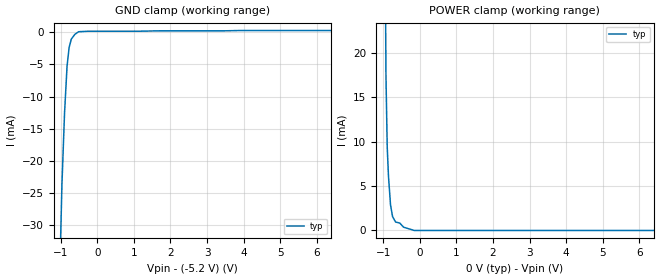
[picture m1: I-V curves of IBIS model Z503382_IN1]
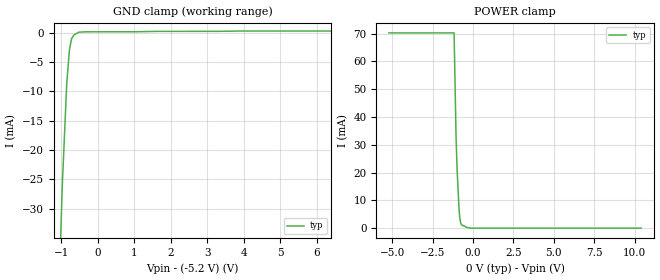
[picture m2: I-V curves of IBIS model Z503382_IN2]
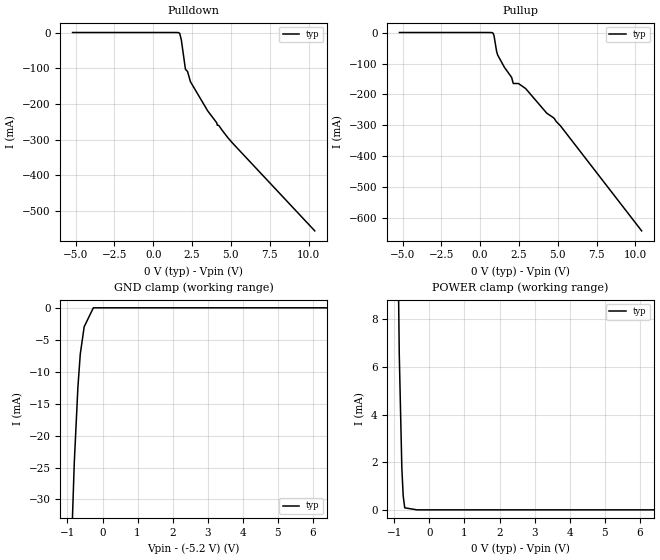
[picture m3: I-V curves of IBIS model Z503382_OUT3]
| YOU ARE ONLY AUTHORIZED TO USE THIS SOFTWARE
| ACCORDING TO LICENSOR'S LICENSE RESTRICTIONS.
[IBIS Ver] 3.1
[File Name] mc100el11d.ibs
[File Rev] 2.0
[Source] Measured and created by ICX Technology
[Date] Friday 7/14/00 9:07:48 AM
[Copyright]
| (C) COPYRIGHT 1993-2000
| MENTOR GRAPHICS CORPORATION
| ICX STANDARD LIBRARY, ICX PROJECT MODELING,
| ICX CUSTOM MODELING, ICX VENDOR MODEL
| ALL RIGHTS RESERVED.
| THE FOLLOWING ARE TRADEMARKS OR SERVICE MARKS OF
| MENTOR GRAPHICS CORPORATION:ICX (R), ICX STANDARD
| LIBRARY(R), ICX PROJECT MODELING(R), ICX CUSTOM
| MODELING(R), qualityIBIS(TM), MODELVIEWER(TM),
| AND MODELEDITOR(TM)
| ALL COPIES OF SOFTWARE, INCLUDING BUT NOT LIMITED TO
| ANY MODIFICATIONS, ENHANCEMENTS OR DERIVATIVE WORKS,
| MUST CONTAIN ALL MENTOR GRAPHICS CORPORATION'S
| NOTICES AND LEGENDS, INCLUDING THOSE EMBEDDED IN
| SOFTWARE AND THOSE AFFIXED TO SOFTWARE MEDIUM
| AND CONTAINER, AS RECEIVED FROM MENTOR GRAPHICS
| CORPORATION.
|  ZAP Model Builder 2.7
[Component] MC100EL11D
[Manufacturer] OnSemiconductor
[Package]
| variable   typ   min   max
R_pkg  .152ohms NA NA
L_pkg  2.714nH NA NA
C_pkg  .364pF NA NA
[Pin] signal_name  model_name  R_pin  L_pin C_pin
1 Q0 Z503382_OUT3 .154 2.924n .374p
2 _Q0 Z503382_OUT4 .15 2.504n .354p
3 Q1 Z503382_OUT5 .15 2.504n .354p
4 _Q1 Z503382_OUT6 .154 2.924n .374p
5 VEE POWER .154 2.924n .374p
6 _D Z503382_IN1 .15 2.504n .354p
7 D Z503382_IN2 .15 2.504n .354p
8 VCC POWER .154 2.924n .374p
| Models and submodels in the file (6): Z503382_IN1 (Input_ECL), Z503382_IN2 (Input_ECL), Z503382_OUT3 (Output_ECL), Z503382_OUT4 (Output_ECL), Z503382_OUT5 (Output_ECL), Z503382_OUT6 (Output_ECL)
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| (C) COPYRIGHT 1993-2000
| MENTOR GRAPHICS CORPORATION
| ICX STANDARD LIBRARY, ICX PROJECT MODELING,
| ICX CUSTOM MODELING, ICX VENDOR MODEL
| ALL RIGHTS RESERVED.
| THE FOLLOWING ARE TRADEMARKS OR SERVICE MARKS OF
| MENTOR GRAPHICS CORPORATION:ICX (R), ICX STANDARD
| LIBRARY(R), ICX PROJECT MODELING(R), ICX CUSTOM
| MODELING(R), qualityIBIS(TM), MODELVIEWER(TM),
| AND MODELEDITOR(TM)
| ALL COPIES OF SOFTWARE, INCLUDING BUT NOT LIMITED TO
| ANY MODIFICATIONS, ENHANCEMENTS OR DERIVATIVE WORKS,
| MUST CONTAIN ALL MENTOR GRAPHICS CORPORATION'S
| NOTICES AND LEGENDS, INCLUDING THOSE EMBEDDED IN
| SOFTWARE AND THOSE AFFIXED TO SOFTWARE MEDIUM
| AND CONTAINER, AS RECEIVED FROM MENTOR GRAPHICS
| CORPORATION.
| Model Application Version 1.89 2/18/99.
[Model] Z503382_IN1
Model_type Input_ECL
Vinl = -1.475V
Vinh = -1.165V
C_comp 4.000pF NA NA
| variable typ   min   max
[Voltage Range] -5.200V NA NA
[GND Clamp Reference] -5.200V NA NA
[POWER Clamp Reference] 0.000V NA NA
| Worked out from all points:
|   GND clamp passes 1 mA (typ) near -0.70 V on its own axis
|   POWER clamp passes 1 mA (typ) near -0.67 V on its own axis
[GND Clamp]
-5.2V     -131.4mA   NA         NA
-1.222V   -82.1mA    NA         NA
-970mV    -23.72mA   NA         NA
-899mV    -12.63mA   NA         NA
-830mV    -5.292mA   NA         NA
-773mV    -2.365mA   NA         NA
-713mV    -1.065mA   NA         NA
-615mV    -324.6uA   NA         NA
-513mV    74.95uA    NA         NA
3.914V    264.2uA    NA         NA
10.4V     264.2uA    NA         NA
[POWER Clamp]
-5.2V     837.8mA    NA         NA
-1.079V   117.1mA    NA         NA
-927.7mV  17.33mA    NA         NA
-893.7mV  9.416mA    NA         NA
-859.4mV  6.128mA    NA         NA
-803.6mV  2.884mA    NA         NA
-747.1mV  1.559mA    NA         NA
-664.1mV  952.8uA    NA         NA
-548.2mV  833.8uA    NA         NA
-448mV    375.3uA    NA         NA
-153.4mV  0A         NA         NA
10.4V     0A         NA         NA
| (C) COPYRIGHT 1993-2000
| MENTOR GRAPHICS CORPORATION
| ICX STANDARD LIBRARY, ICX PROJECT MODELING,
| ICX CUSTOM MODELING, ICX VENDOR MODEL
| ALL RIGHTS RESERVED.
| THE FOLLOWING ARE TRADEMARKS OR SERVICE MARKS OF
| MENTOR GRAPHICS CORPORATION:ICX (R), ICX STANDARD
| LIBRARY(R), ICX PROJECT MODELING(R), ICX CUSTOM
| MODELING(R), qualityIBIS(TM), MODELVIEWER(TM),
| AND MODELEDITOR(TM)
| ALL COPIES OF SOFTWARE, INCLUDING BUT NOT LIMITED TO
| ANY MODIFICATIONS, ENHANCEMENTS OR DERIVATIVE WORKS,
| MUST CONTAIN ALL MENTOR GRAPHICS CORPORATION'S
| NOTICES AND LEGENDS, INCLUDING THOSE EMBEDDED IN
| SOFTWARE AND THOSE AFFIXED TO SOFTWARE MEDIUM
| AND CONTAINER, AS RECEIVED FROM MENTOR GRAPHICS
| CORPORATION.
| Model Application Version 1.89 2/18/99.
[Model] Z503382_IN2
Model_type Input_ECL
Vinl = -1.475V
Vinh = -1.165V
C_comp 4.000pF NA NA
| variable typ   min   max
[Voltage Range] -5.200V NA NA
[GND Clamp Reference] -5.200V NA NA
[POWER Clamp Reference] 0.000V NA NA
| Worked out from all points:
|   GND clamp passes 1 mA (typ) near -0.71 V on its own axis
|   POWER clamp passes 1 mA (typ) near -0.67 V on its own axis
[GND Clamp]
-5.2V     -228.5mA   NA         NA
-1.064V   -45.14mA   NA         NA
-967mV    -25.86mA   NA         NA
-845mV    -8.513mA   NA         NA
-772mV    -2.912mA   NA         NA
-713mV    -1.035mA   NA         NA
-654mV    -426.3uA   NA         NA
-513mV    73.62uA    NA         NA
3.934V    273.5uA    NA         NA
10.4V     273.5uA    NA         NA
[POWER Clamp]
-5.2V     70.26mA    NA         NA
-1.17V    70.26mA    NA         NA
-1.05V    33.3mA     NA         NA
-985mV    21.15mA    NA         NA
-859.4mV  6.436mA    NA         NA
-803.2mV  3.045mA    NA         NA
-747.1mV  1.599mA    NA         NA
-664.1mV  959.5uA    NA         NA
-153.5mV  0A         NA         NA
10.4V     0A         NA         NA
| (C) COPYRIGHT 1993-2000
| MENTOR GRAPHICS CORPORATION
| ICX STANDARD LIBRARY, ICX PROJECT MODELING,
| ICX CUSTOM MODELING, ICX VENDOR MODEL
| ALL RIGHTS RESERVED.
| THE FOLLOWING ARE TRADEMARKS OR SERVICE MARKS OF
| MENTOR GRAPHICS CORPORATION:ICX (R), ICX STANDARD
| LIBRARY(R), ICX PROJECT MODELING(R), ICX CUSTOM
| MODELING(R), qualityIBIS(TM), MODELVIEWER(TM),
| AND MODELEDITOR(TM)
| ALL COPIES OF SOFTWARE, INCLUDING BUT NOT LIMITED TO
| ANY MODIFICATIONS, ENHANCEMENTS OR DERIVATIVE WORKS,
| MUST CONTAIN ALL MENTOR GRAPHICS CORPORATION'S
| NOTICES AND LEGENDS, INCLUDING THOSE EMBEDDED IN
| SOFTWARE AND THOSE AFFIXED TO SOFTWARE MEDIUM
| AND CONTAINER, AS RECEIVED FROM MENTOR GRAPHICS
| CORPORATION.
| Model Application Version 1.89 2/18/99.
[Model] Z503382_OUT3
Model_type Output_ECL
Vref=-2.000V
Rref=50.00ohms
Cref=0.000F
Vmeas=-1.320V
C_comp 8.000pF NA NA
| variable typ   min   max
[Voltage Range] -5.200V NA NA
[POWER Clamp Reference] 0.000V NA NA
[Pullup Reference] 0.000V NA NA
[Pulldown Reference] 0.000V NA NA
[GND Clamp Reference] -5.200V NA NA
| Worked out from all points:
|   POWER clamp passes 1 mA (typ) near -0.76 V on its own axis
[GND Clamp]
-5.2V     -755mA     NA         NA
-806mV    -24.33mA   NA         NA
-703mV    -12.51mA   NA         NA
-635mV    -7.264mA   NA         NA
-523mV    -2.964mA   NA         NA
-261.5mV  0A         NA         NA
10.4V     0A         NA         NA
[Pulldown]
-5.2V     224.3uA    NA         NA
1.704V    -2.535mA   NA         NA
1.806V    -20.56mA   NA         NA
2.07V     -102.8mA   NA         NA
2.206V    -109mA     NA         NA
2.393V    -137.7mA   NA         NA
3.503V    -219.3mA   NA         NA
4.087V    -252.8mA   NA         NA
4.123V    -259.6mA   NA         NA
4.238V    -261.3mA   NA         NA
5.117V    -310.2mA   NA         NA
10.4V     -555.5mA   NA         NA
[Pullup]
-5.2V     182.2uA    NA         NA
808.8mV   -1.142mA   NA         NA
894.9mV   -10.84mA   NA         NA
1.059V    -61.04mA   NA         NA
1.128V    -72.62mA   NA         NA
2.026V    -144.8mA   NA         NA
2.132V    -164.5mA   NA         NA
2.466V    -164.7mA   NA         NA
2.927V    -180.8mA   NA         NA
4.285V    -260.2mA   NA         NA
4.756V    -276.5mA   NA         NA
10.4V     -640.6mA   NA         NA
[POWER Clamp]
-5.2V     1.138A     NA         NA
-1.611V   250mA      NA         NA
-1.538V   224.4mA    NA         NA
-1.27V    107.9mA    NA         NA
-1.113V   51.14mA    NA         NA
-1.001V   24.3mA     NA         NA
-859.3mV  6.524mA    NA         NA
-786mV    1.757mA    NA         NA
-747.3mV  590.9uA    NA         NA
-703.6mV  84.4uA     NA         NA
-351.8mV  0A         NA         NA
10.4V     0A         NA         NA
[Ramp]
| variable typ min max
dV/dt_r 475.1m/582.0p NA NA
dV/dt_f 475.1m/766.9p NA NA
R_load = 50.00Ohms
